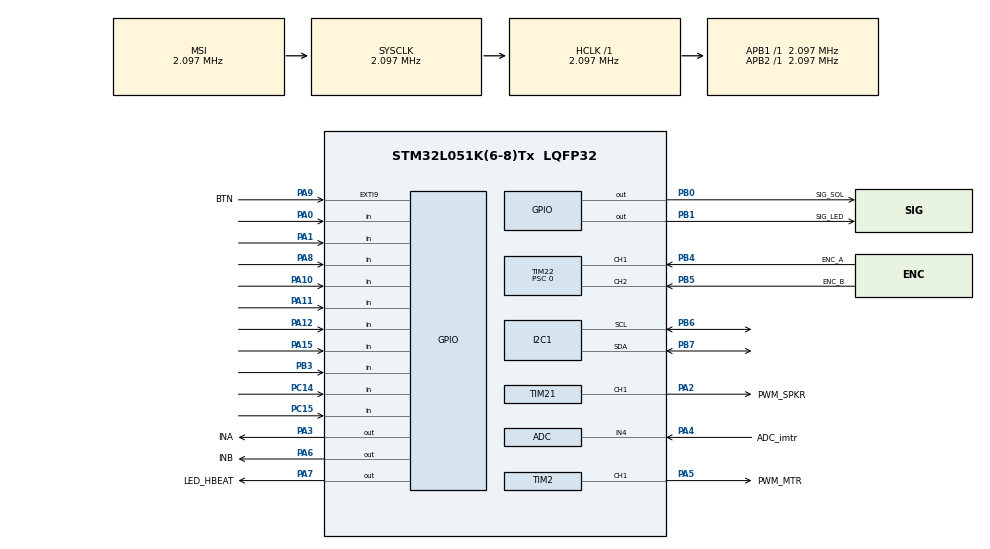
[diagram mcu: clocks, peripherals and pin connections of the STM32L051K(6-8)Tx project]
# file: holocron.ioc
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ADC.ContinuousConvMode=ENABLE
ADC.DiscontinuousConvMode=DISABLE
ADC.EOCSelection=ADC_EOC_SEQ_CONV
ADC.Resolution=ADC_RESOLUTION_10B
ADC.SamplingTime=ADC_SAMPLETIME_7CYCLES_5
Mcu.Family=STM32L0
Mcu.Name=STM32L051K(6-8)Tx
Mcu.Package=LQFP32
NVIC.EXTI4_15_IRQn=true\:1\:0\:true\:false\:true\:true\:true
NVIC.TIM6_DAC_IRQn=true\:0\:0\:false\:false\:true\:true\:true
PA0.GPIO_PuPd=GPIO_PULLDOWN
PA0.Signal=GPIO_Input
PA1.GPIO_PuPd=GPIO_PULLDOWN
PA1.Signal=GPIO_Input
PA10.GPIO_PuPd=GPIO_PULLDOWN
PA10.Signal=GPIO_Input
PA11.GPIO_PuPd=GPIO_PULLDOWN
PA11.Signal=GPIO_Input
PA12.GPIO_PuPd=GPIO_PULLDOWN
PA12.Signal=GPIO_Input
PA13.Mode=Serial_Wire
PA13.Signal=SYS_SWDIO
PA14.Mode=Serial_Wire
PA14.Signal=SYS_SWCLK
PA15.GPIO_PuPd=GPIO_PULLDOWN
PA15.Signal=GPIO_Input
PA2.GPIO_Label=PWM_SPKR
PA2.Signal=S_TIM21_CH1
PA3.GPIO_Label=INA
PA3.Signal=GPIO_Output
PA4.GPIO_Label=ADC_imtr
PA4.Mode=IN4
PA4.Signal=ADC_IN4
PA5.GPIO_Label=PWM_MTR
PA5.Signal=S_TIM2_CH1
PA6.GPIO_Label=INB
PA6.Signal=GPIO_Output
PA7.GPIO_Label=LED_HBEAT
PA7.Signal=GPIO_Output
PA8.GPIO_PuPd=GPIO_PULLDOWN
PA8.Signal=GPIO_Input
PA9.GPIO_Label=BTN
PA9.GPIO_PuPd=GPIO_PULLDOWN
PA9.Signal=GPXTI9
PB0.GPIO_Label=SIG_SOL
PB0.GPIO_PuPd=GPIO_PULLDOWN
PB0.Signal=GPIO_Output
PB1.GPIO_Label=SIG_LED
PB1.GPIO_PuPd=GPIO_PULLDOWN
PB1.Signal=GPIO_Output
PB3.GPIO_PuPd=GPIO_PULLDOWN
PB3.Signal=GPIO_Input
PB4.GPIO_Label=ENC_A
PB4.Signal=S_TIM22_CH1
PB5.GPIO_Label=ENC_B
PB5.Signal=S_TIM22_CH2
PB6.Mode=I2C
PB6.Signal=I2C1_SCL
PB7.Mode=I2C
PB7.Signal=I2C1_SDA
PC14-OSC32_IN.GPIO_PuPd=GPIO_PULLDOWN
PC14-OSC32_IN.Signal=GPIO_Input
PC15-OSC32_OUT.GPIO_PuPd=GPIO_PULLDOWN
PC15-OSC32_OUT.Signal=GPIO_Input
ProjectManager.HeapSize=0x200
ProjectManager.StackSize=0x400
ProjectManager.TargetToolchain=STM32CubeIDE
RCC.AHBFreq_Value=2097000
RCC.APB1Freq_Value=2097000
RCC.APB1TimFreq_Value=2097000
RCC.APB2Freq_Value=2097000
RCC.APB2TimFreq_Value=2097000
RCC.HSI16_VALUE=16000000
RCC.HSI_VALUE=16000000
RCC.LSE_VALUE=32768
RCC.MSI_VALUE=2097000
RCC.SYSCLKFreq_VALUE=2097000
RCC.VCOOutputFreq_Value=48000000
SH.S_TIM21_CH1.0=TIM21_CH1,PWM Generation1 CH1
SH.S_TIM22_CH1.0=TIM22_CH1,Encoder_Interface
SH.S_TIM22_CH2.0=TIM22_CH2,Encoder_Interface
SH.S_TIM2_CH1.0=TIM2_CH1,PWM Generation1 CH1
TIM2.AutoReloadPreload=TIM_AUTORELOAD_PRELOAD_ENABLE
TIM2.Channel-PWM\ Generation1\ CH1=TIM_CHANNEL_1
TIM2.Period=200
TIM2.Prescaler=0
TIM21.AutoReloadPreload=TIM_AUTORELOAD_PRELOAD_ENABLE
TIM21.Channel-PWM\ Generation1\ CH1=TIM_CHANNEL_1
TIM21.ClockDivision=TIM_CLOCKDIVISION_DIV1
TIM21.Period=0
TIM21.Prescaler=104
TIM22.AutoReloadPreload=TIM_AUTORELOAD_PRELOAD_DISABLE
TIM22.ClockDivision=TIM_CLOCKDIVISION_DIV1
TIM22.IC1Filter=2
TIM22.IC1Polarity=TIM_ICPOLARITY_FALLING
TIM22.IC1Prescaler=TIM_ICPSC_DIV1
TIM22.IC2Filter=2
TIM22.IC2Polarity=TIM_ICPOLARITY_FALLING
TIM22.IC2Prescaler=TIM_ICPSC_DIV1
TIM22.Period=65535
TIM22.Prescaler=0
TIM6.AutoReloadPreload=TIM_AUTORELOAD_PRELOAD_ENABLE
TIM6.Period=32
TIM6.Prescaler=65535
TIM6.TIM_MasterOutputTrigger=TIM_TRGO_RESET
VP_TIM21_VS_ClockSourceINT.Mode=Internal
VP_TIM6_VS_ClockSourceINT.Mode=Enable_Timer
board=custom

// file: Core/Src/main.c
/* USER CODE BEGIN Header */
/**
  ******************************************************************************
  * @file           : main.c
  * @brief          : Main program body
  ******************************************************************************
  * @attention
  *
  * <h2><center>&copy; Copyright (c) 2021 STMicroelectronics.
  * All rights reserved.</center></h2>
  *
  * This software component is licensed by ST under BSD 3-Clause license,
  * the "License"; You may not use this file except in compliance with the
  * License. You may obtain a copy of the License at:
  *                        opensource.org/licenses/BSD-3-Clause
  *
  ******************************************************************************
  */
/* USER CODE END Header */

#include "main.h"

/* USER CODE BEGIN Includes */
#include "hardware.h"
//#include "hardware.c"
/* USER CODE END Includes */

/* USER CODE BEGIN PD */
#define LOGLEN 500  // umber of data points
/* USER CODE END PD */

ADC_HandleTypeDef hadc;

I2C_HandleTypeDef hi2c1;

TIM_HandleTypeDef htim2;
TIM_HandleTypeDef htim6;
TIM_HandleTypeDef htim21;
TIM_HandleTypeDef htim22;

/* USER CODE BEGIN PV */
SABER_ExecState SaberState = SABER_OFF;

// Communication
HAL_StatusTypeDef rethal = HAL_OK;

// Timing Globals
uint32_t ticksPerSec = 1000;  // for timing: stm32l0xx_hal.h, period2ticks
uint32_t lastTick_DEBOUNCE = 0;
uint32_t lastTick_MTR = 0;
uint32_t ticksDEBOUNCE;
uint32_t ticksMTR;

// Debugging Globals
volatile uint16_t imtr;
volatile const int16_t * encTicks;
int16_t tgt = 20000;
int16_t err = 0;
volatile float u;
float ulog[LOGLEN];
int16_t errlog[LOGLEN];
uint16_t ilog[LOGLEN];
uint16_t logndx = 0;

/* USER CODE END PV */

void SystemClock_Config(void);
static void MX_GPIO_Init(void);
static void MX_I2C1_Init(void);
static void MX_TIM2_Init(void);
static void MX_TIM21_Init(void);
static void MX_TIM22_Init(void);
static void MX_ADC_Init(void);
static void MX_TIM6_Init(void);
/* USER CODE BEGIN PFP */
static inline void nextState_USER(void);
static inline uint32_t Period2Ticks(float);
static inline uint16_t accVal(uint8_t const * const);
static inline float ADC_GetMaxVal(void);
/* USER CODE END PFP */

int main(void)
{
  /* USER CODE BEGIN 1 */
  __disable_irq();  // wait for setup

  // static locals
//  static const uint8_t accRaw[10] = {0,0,0,0,0,0,0,0,0,0};  // TODO: why 10, not 8?
//  static const uint8_t accTxPacket[1] = {ACC_X_MSB_ADDR};

  // dynamic locals
//  uint16_t xacc,yacc,zacc;
//  uint16_t imtrs[3] = {0,0,0};  // TODO: programmatically setup lpf buffer
  /* USER CODE END 1 */

  /* MCU Configuration--------------------------------------------------------*/

  /* Reset of all peripherals, Initializes the Flash interface and the Systick. */
  HAL_Init();

  /* Configure the system clock */
  SystemClock_Config();

  /* USER CODE BEGIN SysInit */
  HAL_SetTickFreq(HAL_TICK_FREQ_1KHZ);
  ticksMTR = Period2Ticks(T_MTR);
  ticksDEBOUNCE = Period2Ticks(T_DEBOUNCE);
  /* USER CODE END SysInit */

  /* Initialize all configured peripherals */
  MX_GPIO_Init();
  MX_I2C1_Init();
  MX_TIM2_Init();
  MX_TIM21_Init();
  MX_TIM22_Init();
  MX_ADC_Init();
  MX_TIM6_Init();
  /* USER CODE BEGIN 2 */
  // enforce off
  MtrBrakeLo();
  HAL_GPIO_WritePin(SIG_SOL_GPIO_Port,SIG_SOL_Pin,0);
  HAL_GPIO_WritePin(SIG_LED_GPIO_Port,SIG_LED_Pin,0);

  // heartbeat
  htim6.Instance->ARR = (uint32_t) 32 * T_HBEAT;  // 2.097MHz / (65535+1) / 32 = 1Hz
  HAL_TIM_Base_Start_IT(&htim6);

  // encoder
  HAL_TIM_Encoder_Start(&htim22, TIM_CHANNEL_ALL);
  encTicks = &(htim22.Instance->CNT);  // signed encoder count

  // pwm
  htim2.Instance->CCR1 = 0;  // 0% duty cycle
  HAL_TIM_PWM_Start(&htim2, TIM_CHANNEL_1);

  /* USER CODE END 2 */

  /* Infinite loop */
  /* USER CODE BEGIN WHILE */
  __enable_irq();
  while (1) {
//    if (uwTick - lastTick_MTR > ticksMTR) {
//      // TODO: read motor current
//      err = *encTicks - tgt;
//      if (logndx < LOGLEN) {
//        ulog[logndx] = u;
//        errlog[logndx] = err;
//        logndx++;
//      }
//      CtlLaw(err);
//      SetMtrPWM(u);
//      lastTick_MTR = uwTick;
//    }
    for (int i=0;i<10;i++) {
      SetSpkrFreq(i*2000);
      HAL_Delay(1000);
    }
    // State Machine
//    switch (SaberState) {
//      case SABER_OFF:
//        break;
//      case SABER_EXTEND:
//        if ( !checkExtend() ) {  // TODO: actual control loop
//          MtrCtl(u);
//        }
//        break;
//      case SABER_RETRACT:
//        if ( !checkRetract() ) {  // TODO: actual control loop
//        }
//        break;
//      case SABER_ON:
//        // TODO: saber noises
//        // TODO: blinky lights
//        HAL_GPIO_WritePin(SIG_LED_GPIO_Port, SIG_LED_Pin, GPIO_PIN_RESET);
//        break;
//      default:
//        Error_Handler();
//        break;
//    }
  }
    /* USER CODE END WHILE */

}

void SystemClock_Config(void)
{
  RCC_OscInitTypeDef RCC_OscInitStruct = {0};
  RCC_ClkInitTypeDef RCC_ClkInitStruct = {0};
  RCC_PeriphCLKInitTypeDef PeriphClkInit = {0};

  /** Configure the main internal regulator output voltage
  */
  __HAL_PWR_VOLTAGESCALING_CONFIG(PWR_REGULATOR_VOLTAGE_SCALE1);
  /** Initializes the CPU, AHB and APB busses clocks
  */
  RCC_OscInitStruct.OscillatorType = RCC_OSCILLATORTYPE_MSI;
  RCC_OscInitStruct.MSIState = RCC_MSI_ON;
  RCC_OscInitStruct.MSICalibrationValue = 0;
  RCC_OscInitStruct.MSIClockRange = RCC_MSIRANGE_5;
  RCC_OscInitStruct.PLL.PLLState = RCC_PLL_NONE;
  if (HAL_RCC_OscConfig(&RCC_OscInitStruct) != HAL_OK)
  {
    Error_Handler();
  }
  /** Initializes the CPU, AHB and APB busses clocks
  */
  RCC_ClkInitStruct.ClockType = RCC_CLOCKTYPE_HCLK|RCC_CLOCKTYPE_SYSCLK
                              |RCC_CLOCKTYPE_PCLK1|RCC_CLOCKTYPE_PCLK2;
  RCC_ClkInitStruct.SYSCLKSource = RCC_SYSCLKSOURCE_MSI;
  RCC_ClkInitStruct.AHBCLKDivider = RCC_SYSCLK_DIV1;
  RCC_ClkInitStruct.APB1CLKDivider = RCC_HCLK_DIV1;
  RCC_ClkInitStruct.APB2CLKDivider = RCC_HCLK_DIV1;

  if (HAL_RCC_ClockConfig(&RCC_ClkInitStruct, FLASH_LATENCY_0) != HAL_OK)
  {
    Error_Handler();
  }
  PeriphClkInit.PeriphClockSelection = RCC_PERIPHCLK_I2C1;
  PeriphClkInit.I2c1ClockSelection = RCC_I2C1CLKSOURCE_PCLK1;
  if (HAL_RCCEx_PeriphCLKConfig(&PeriphClkInit) != HAL_OK)
  {
    Error_Handler();
  }
}

static void MX_ADC_Init(void)
{

  ADC_ChannelConfTypeDef sConfig = {0};

  /** Configure the global features of the ADC (Clock, Resolution, Data Alignment and number of conversion)
  */
  hadc.Instance = ADC1;
  hadc.Init.OversamplingMode = DISABLE;
  hadc.Init.ClockPrescaler = ADC_CLOCK_SYNC_PCLK_DIV1;
  hadc.Init.Resolution = ADC_RESOLUTION_10B;
  hadc.Init.SamplingTime = ADC_SAMPLETIME_7CYCLES_5;
  hadc.Init.ScanConvMode = ADC_SCAN_DIRECTION_FORWARD;
  hadc.Init.DataAlign = ADC_DATAALIGN_RIGHT;
  hadc.Init.ContinuousConvMode = ENABLE;
  hadc.Init.DiscontinuousConvMode = DISABLE;
  hadc.Init.ExternalTrigConvEdge = ADC_EXTERNALTRIGCONVEDGE_NONE;
  hadc.Init.ExternalTrigConv = ADC_SOFTWARE_START;
  hadc.Init.DMAContinuousRequests = DISABLE;
  hadc.Init.EOCSelection = ADC_EOC_SEQ_CONV;
  hadc.Init.Overrun = ADC_OVR_DATA_PRESERVED;
  hadc.Init.LowPowerAutoWait = DISABLE;
  hadc.Init.LowPowerFrequencyMode = DISABLE;
  hadc.Init.LowPowerAutoPowerOff = DISABLE;
  if (HAL_ADC_Init(&hadc) != HAL_OK)
  {
    Error_Handler();
  }
  /** Configure for the selected ADC regular channel to be converted.
  */
  sConfig.Channel = ADC_CHANNEL_4;
  sConfig.Rank = ADC_RANK_CHANNEL_NUMBER;
  if (HAL_ADC_ConfigChannel(&hadc, &sConfig) != HAL_OK)
  {
    Error_Handler();
  }

}

static void MX_I2C1_Init(void)
{

  hi2c1.Instance = I2C1;
  hi2c1.Init.Timing = 0x00000708;
  hi2c1.Init.OwnAddress1 = 0;
  hi2c1.Init.AddressingMode = I2C_ADDRESSINGMODE_7BIT;
  hi2c1.Init.DualAddressMode = I2C_DUALADDRESS_DISABLE;
  hi2c1.Init.OwnAddress2 = 0;
  hi2c1.Init.OwnAddress2Masks = I2C_OA2_NOMASK;
  hi2c1.Init.GeneralCallMode = I2C_GENERALCALL_DISABLE;
  hi2c1.Init.NoStretchMode = I2C_NOSTRETCH_DISABLE;
  if (HAL_I2C_Init(&hi2c1) != HAL_OK)
  {
    Error_Handler();
  }
  /** Configure Analogue filter
  */
  if (HAL_I2CEx_ConfigAnalogFilter(&hi2c1, I2C_ANALOGFILTER_ENABLE) != HAL_OK)
  {
    Error_Handler();
  }
  /** Configure Digital filter
  */
  if (HAL_I2CEx_ConfigDigitalFilter(&hi2c1, 0) != HAL_OK)
  {
    Error_Handler();
  }
  /* USER CODE BEGIN I2C1_Init 2 */
	#ifdef DO_ACC
  // Set accelerometer to active, MMA8452 datasheet p11
  static uint8_t d[2] = {ACC_CTRL_REG1, 1};
  __disable_irq();
  if (HAL_I2C_Master_Transmit(&ACC_I2C, ACC_ADDR<<1, d, 2, HAL_MAX_DELAY) != HAL_OK) Error_Handler();
  __enable_irq();
  #endif  // DO_ACC
  /* USER CODE END I2C1_Init 2 */

}

static void MX_TIM2_Init(void)
{

  TIM_MasterConfigTypeDef sMasterConfig = {0};
  TIM_OC_InitTypeDef sConfigOC = {0};

  htim2.Instance = TIM2;
  htim2.Init.Prescaler = 0;
  htim2.Init.CounterMode = TIM_COUNTERMODE_UP;
  htim2.Init.Period = 200;
  htim2.Init.ClockDivision = TIM_CLOCKDIVISION_DIV1;
  htim2.Init.AutoReloadPreload = TIM_AUTORELOAD_PRELOAD_ENABLE;
  if (HAL_TIM_PWM_Init(&htim2) != HAL_OK)
  {
    Error_Handler();
  }
  sMasterConfig.MasterOutputTrigger = TIM_TRGO_RESET;
  sMasterConfig.MasterSlaveMode = TIM_MASTERSLAVEMODE_DISABLE;
  if (HAL_TIMEx_MasterConfigSynchronization(&htim2, &sMasterConfig) != HAL_OK)
  {
    Error_Handler();
  }
  sConfigOC.OCMode = TIM_OCMODE_PWM1;
  sConfigOC.Pulse = 0;
  sConfigOC.OCPolarity = TIM_OCPOLARITY_HIGH;
  sConfigOC.OCFastMode = TIM_OCFAST_DISABLE;
  if (HAL_TIM_PWM_ConfigChannel(&htim2, &sConfigOC, TIM_CHANNEL_1) != HAL_OK)
  {
    Error_Handler();
  }
  HAL_TIM_MspPostInit(&htim2);

}

static void MX_TIM6_Init(void)
{

  TIM_MasterConfigTypeDef sMasterConfig = {0};

  htim6.Instance = TIM6;
  htim6.Init.Prescaler = 65535;
  htim6.Init.CounterMode = TIM_COUNTERMODE_UP;
  htim6.Init.Period = 32;
  htim6.Init.AutoReloadPreload = TIM_AUTORELOAD_PRELOAD_ENABLE;
  if (HAL_TIM_Base_Init(&htim6) != HAL_OK)
  {
    Error_Handler();
  }
  sMasterConfig.MasterOutputTrigger = TIM_TRGO_RESET;
  sMasterConfig.MasterSlaveMode = TIM_MASTERSLAVEMODE_DISABLE;
  if (HAL_TIMEx_MasterConfigSynchronization(&htim6, &sMasterConfig) != HAL_OK)
  {
    Error_Handler();
  }

}

static void MX_TIM21_Init(void)
{

  TIM_ClockConfigTypeDef sClockSourceConfig = {0};
  TIM_MasterConfigTypeDef sMasterConfig = {0};
  TIM_OC_InitTypeDef sConfigOC = {0};

  htim21.Instance = TIM21;
  htim21.Init.Prescaler = 104;
  htim21.Init.CounterMode = TIM_COUNTERMODE_UP;
  htim21.Init.Period = 0;
  htim21.Init.ClockDivision = TIM_CLOCKDIVISION_DIV1;
  htim21.Init.AutoReloadPreload = TIM_AUTORELOAD_PRELOAD_ENABLE;
  if (HAL_TIM_Base_Init(&htim21) != HAL_OK)
  {
    Error_Handler();
  }
  sClockSourceConfig.ClockSource = TIM_CLOCKSOURCE_INTERNAL;
  if (HAL_TIM_ConfigClockSource(&htim21, &sClockSourceConfig) != HAL_OK)
  {
    Error_Handler();
  }
  if (HAL_TIM_PWM_Init(&htim21) != HAL_OK)
  {
    Error_Handler();
  }
  sMasterConfig.MasterOutputTrigger = TIM_TRGO_RESET;
  sMasterConfig.MasterSlaveMode = TIM_MASTERSLAVEMODE_DISABLE;
  if (HAL_TIMEx_MasterConfigSynchronization(&htim21, &sMasterConfig) != HAL_OK)
  {
    Error_Handler();
  }
  sConfigOC.OCMode = TIM_OCMODE_PWM1;
  sConfigOC.Pulse = 0;
  sConfigOC.OCPolarity = TIM_OCPOLARITY_HIGH;
  sConfigOC.OCFastMode = TIM_OCFAST_DISABLE;
  if (HAL_TIM_PWM_ConfigChannel(&htim21, &sConfigOC, TIM_CHANNEL_1) != HAL_OK)
  {
    Error_Handler();
  }
  HAL_TIM_MspPostInit(&htim21);

}

static void MX_TIM22_Init(void)
{

  TIM_Encoder_InitTypeDef sConfig = {0};
  TIM_MasterConfigTypeDef sMasterConfig = {0};

  htim22.Instance = TIM22;
  htim22.Init.Prescaler = 0;
  htim22.Init.CounterMode = TIM_COUNTERMODE_UP;
  htim22.Init.Period = 65535;
  htim22.Init.ClockDivision = TIM_CLOCKDIVISION_DIV1;
  htim22.Init.AutoReloadPreload = TIM_AUTORELOAD_PRELOAD_DISABLE;
  sConfig.EncoderMode = TIM_ENCODERMODE_TI1;
  sConfig.IC1Polarity = TIM_ICPOLARITY_FALLING;
  sConfig.IC1Selection = TIM_ICSELECTION_DIRECTTI;
  sConfig.IC1Prescaler = TIM_ICPSC_DIV1;
  sConfig.IC1Filter = 2;
  sConfig.IC2Polarity = TIM_ICPOLARITY_FALLING;
  sConfig.IC2Selection = TIM_ICSELECTION_DIRECTTI;
  sConfig.IC2Prescaler = TIM_ICPSC_DIV1;
  sConfig.IC2Filter = 2;
  if (HAL_TIM_Encoder_Init(&htim22, &sConfig) != HAL_OK)
  {
    Error_Handler();
  }
  sMasterConfig.MasterOutputTrigger = TIM_TRGO_RESET;
  sMasterConfig.MasterSlaveMode = TIM_MASTERSLAVEMODE_DISABLE;
  if (HAL_TIMEx_MasterConfigSynchronization(&htim22, &sMasterConfig) != HAL_OK)
  {
    Error_Handler();
  }

}

static void MX_GPIO_Init(void)
{
  GPIO_InitTypeDef GPIO_InitStruct = {0};

  /* GPIO Ports Clock Enable */
  __HAL_RCC_GPIOC_CLK_ENABLE();
  __HAL_RCC_GPIOA_CLK_ENABLE();
  __HAL_RCC_GPIOB_CLK_ENABLE();

  /*Configure GPIO pin Output Level */
  HAL_GPIO_WritePin(GPIOA, INA_Pin|INB_Pin|LED_HBEAT_Pin, GPIO_PIN_RESET);

  /*Configure GPIO pin Output Level */
  HAL_GPIO_WritePin(GPIOB, SIG_SOL_Pin|SIG_LED_Pin, GPIO_PIN_RESET);

  /*Configure GPIO pins : PC14 PC15 */
  GPIO_InitStruct.Pin = GPIO_PIN_14|GPIO_PIN_15;
  GPIO_InitStruct.Mode = GPIO_MODE_INPUT;
  GPIO_InitStruct.Pull = GPIO_PULLDOWN;
  HAL_GPIO_Init(GPIOC, &GPIO_InitStruct);

  /*Configure GPIO pins : PA0 PA1 PA8 PA10
                           PA11 PA12 PA15 */
  GPIO_InitStruct.Pin = GPIO_PIN_0|GPIO_PIN_1|GPIO_PIN_8|GPIO_PIN_10
                          |GPIO_PIN_11|GPIO_PIN_12|GPIO_PIN_15;
  GPIO_InitStruct.Mode = GPIO_MODE_INPUT;
  GPIO_InitStruct.Pull = GPIO_PULLDOWN;
  HAL_GPIO_Init(GPIOA, &GPIO_InitStruct);

  /*Configure GPIO pins : INA_Pin INB_Pin LED_HBEAT_Pin */
  GPIO_InitStruct.Pin = INA_Pin|INB_Pin|LED_HBEAT_Pin;
  GPIO_InitStruct.Mode = GPIO_MODE_OUTPUT_PP;
  GPIO_InitStruct.Pull = GPIO_NOPULL;
  GPIO_InitStruct.Speed = GPIO_SPEED_FREQ_LOW;
  HAL_GPIO_Init(GPIOA, &GPIO_InitStruct);

  /*Configure GPIO pins : SIG_SOL_Pin SIG_LED_Pin */
  GPIO_InitStruct.Pin = SIG_SOL_Pin|SIG_LED_Pin;
  GPIO_InitStruct.Mode = GPIO_MODE_OUTPUT_PP;
  GPIO_InitStruct.Pull = GPIO_PULLDOWN;
  GPIO_InitStruct.Speed = GPIO_SPEED_FREQ_LOW;
  HAL_GPIO_Init(GPIOB, &GPIO_InitStruct);

  /*Configure GPIO pin : BTN_Pin */
  GPIO_InitStruct.Pin = BTN_Pin;
  GPIO_InitStruct.Mode = GPIO_MODE_IT_RISING;
  GPIO_InitStruct.Pull = GPIO_PULLDOWN;
  HAL_GPIO_Init(BTN_GPIO_Port, &GPIO_InitStruct);

  /*Configure GPIO pin : PB3 */
  GPIO_InitStruct.Pin = GPIO_PIN_3;
  GPIO_InitStruct.Mode = GPIO_MODE_INPUT;
  GPIO_InitStruct.Pull = GPIO_PULLDOWN;
  HAL_GPIO_Init(GPIOB, &GPIO_InitStruct);

  /* EXTI interrupt init*/
  HAL_NVIC_SetPriority(EXTI4_15_IRQn, 1, 0);
  HAL_NVIC_EnableIRQ(EXTI4_15_IRQn);

}

/* USER CODE BEGIN 4 */

/**
  * @brief  Heartbeat timer interrupt implementation
  * @param  htim TIM handle
  * @retval None
  */
__weak void HAL_TIM_PeriodElapsedCallback(TIM_HandleTypeDef *htim)
{
  __disable_irq();
  if (htim == &htim6) {  // only use htim6
    HAL_GPIO_TogglePin(LED_HBEAT_GPIO_Port, LED_HBEAT_Pin);
  }
  __enable_irq();
}

/*****************************************************************************
 * STATE BEHAVIOR
 ****************************************************************************/
/**
  * @brief  EXTI line detection callbacks.
  * @param  GPIO_Pin Specifies the pins connected to the EXTI line.
  * @retval None
  */
void HAL_GPIO_EXTI_Callback(uint16_t GPIO_Pin)
{
  __disable_irq();
  switch (GPIO_Pin) {
    case BTN_Pin:
      if (uwTick-lastTick_DEBOUNCE > ticksDEBOUNCE) {
        nextState_USER();
        lastTick_DEBOUNCE = uwTick;
      }
      break;
  }
  __enable_irq();
}

/** @defgroup Exec_Saber_State  Saber state subroutines.
  * @{
  */

/**
  * @brief  Advance saber state from user input.
  * @retval None
  */
static inline void nextState_USER(void)
{
  switch (SaberState) {
    case SABER_LOW_BATT:
      break;
    case SABER_OFF:
      SaberState = SABER_EXTEND;
      break;
    case SABER_EXTEND:
      SaberState = SABER_RETRACT;
      break;
    case SABER_ON:
      SaberState = SABER_RETRACT;
      break;
    case SABER_RETRACT:  // TODO: it won't just jump like this, will it?
      SaberState = SABER_EXTEND;
      break;
    default:
      Error_Handler();
      break;
  }
}

/*****************************************************************************
 * Config Functions
 ****************************************************************************/
/**
 * @brief Convert Period to Number of System Ticks
 * @param T execution period in seconds
 * @retval Execution period in system ticks
 */
static inline uint32_t Period2Ticks(float T)
{
	return (uint32_t)(T * ticksPerSec);
}

/**
 * @brief Get ADC Resolution from Config Struct
 * @note Run AFTER system configuration
 * @retval Maximum ADC value
 */
static inline float ADC_GetMaxVal(void)
{
  uint8_t bs = 0;  // bitshift for adc resolution
  switch (hadc.Init.Resolution) {
    case ADC_RESOLUTION_12B:
      bs = 12;
      break;
    case ADC_RESOLUTION_10B:
      bs = 10;
      break;
    case ADC_RESOLUTION_8B:
      bs = 8;
      break;
    case ADC_RESOLUTION_6B:
      bs = 6;
      break;
    default:
      Error_Handler();
  }
  return (float)(1U<<bs) - 1;
}

/**
 * @brief Convert I2C Data to Accelerometer Reading
 * @note See hardware.h accelerometer section for details.
 * @param d length-2 uint8 accelerometer data
 * @retval Acceleration in counts
 */
static inline uint16_t accVal(uint8_t const * const d)
{
  return ((*d)<<ACC_BIT0_SHIFT) + (*(d+1)<<ACC_BIT1_SHIFT);
}

/* USER CODE END 4 */

void Error_Handler(void)
{
  /* USER CODE BEGIN Error_Handler_Debug */
  /* User can add his own implementation to report the HAL error return state */
  __disable_irq();
  while (1)
  {
    // Turn off motor
    HAL_GPIO_WritePin(PWM_MTR_GPIO_Port,PWM_MTR_Pin,GPIO_PIN_RESET);
    MtrBrakeLo();
    // Disable speaker
    HAL_GPIO_WritePin(PWM_SPKR_GPIO_Port,PWM_SPKR_Pin,GPIO_PIN_RESET);
    // Disable power led
    HAL_GPIO_WritePin(SIG_LED_GPIO_Port,SIG_LED_Pin,GPIO_PIN_RESET);
    // Turn on hbeat led
    HAL_GPIO_WritePin(LED_HBEAT_GPIO_Port,LED_HBEAT_Pin,GPIO_PIN_SET);
  }
  /* USER CODE END Error_Handler_Debug */
}

/************************ (C) COPYRIGHT STMicroelectronics *****END OF FILE****/
